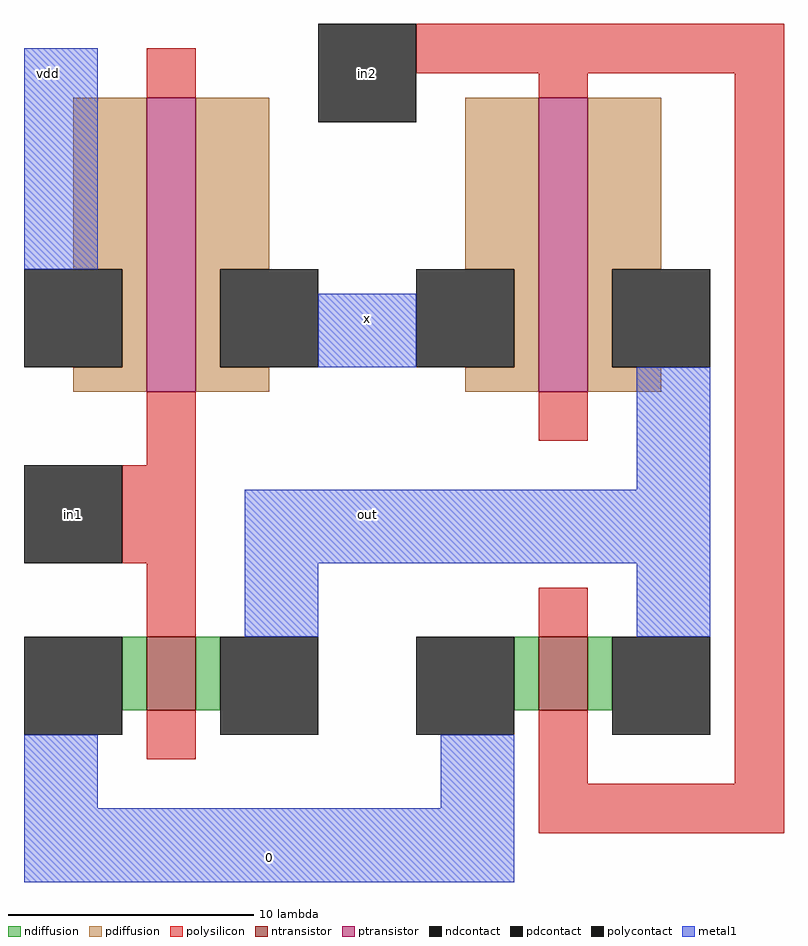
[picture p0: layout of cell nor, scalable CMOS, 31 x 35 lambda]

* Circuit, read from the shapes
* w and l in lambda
.subckt nor 0 in1 in2 out vdd x
M1 out in1 0 VSUBS nfet w=3 l=2
M2 out in2 0 VSUBS nfet w=3 l=2
M3 x in1 vdd NWELL pfet w=12 l=2
M4 out in2 x NWELL pfet w=12 l=2
.ends

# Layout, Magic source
magic
tech scmos
<< polysilicon >>
rect -1 18 1 20
rect 10 19 25 21
rect 15 18 17 19
rect -1 3 1 6
rect 15 4 17 6
rect -2 -1 1 3
rect -1 -4 1 -1
rect 15 -4 17 -2
rect -1 -9 1 -7
rect 15 -10 17 -7
rect 23 -10 25 19
rect 15 -12 25 -10
<< ndiffusion >>
rect -2 -7 -1 -4
rect 1 -7 2 -4
rect 14 -7 15 -4
rect 17 -7 18 -4
<< pdiffusion >>
rect -4 11 -1 18
rect -2 7 -1 11
rect -4 6 -1 7
rect 1 11 4 18
rect 12 11 15 18
rect 1 7 2 11
rect 14 7 15 11
rect 1 6 4 7
rect 12 6 15 7
rect 17 11 20 18
rect 17 7 18 11
rect 17 6 20 7
<< metal1 >>
rect -6 11 -3 20
rect 6 7 10 10
rect 19 2 22 7
rect 3 -1 22 2
rect 3 -4 6 -1
rect 19 -4 22 -1
rect -6 -11 -3 -8
rect 11 -11 14 -8
rect -6 -14 14 -11
<< ntransistor >>
rect -1 -7 1 -4
rect 15 -7 17 -4
<< ptransistor >>
rect -1 6 1 18
rect 15 6 17 18
<< polycontact >>
rect 6 17 10 21
rect -6 -1 -2 3
<< ndcontact >>
rect -6 -8 -2 -4
rect 2 -8 6 -4
rect 10 -8 14 -4
rect 18 -8 22 -4
<< pdcontact >>
rect -6 7 -2 11
rect 2 7 6 11
rect 10 7 14 11
rect 18 7 22 11
<< labels >>
rlabel metal1 -5 19 -5 19 5 vdd
rlabel metal1 8 1 8 1 5 out
rlabel metal1 8 9 8 9 5 x
rlabel polycontact 8 19 8 19 1 in2
rlabel polycontact -4 1 -4 1 1 in1
rlabel metal1 4 -13 4 -13 1 0
<< end >>
